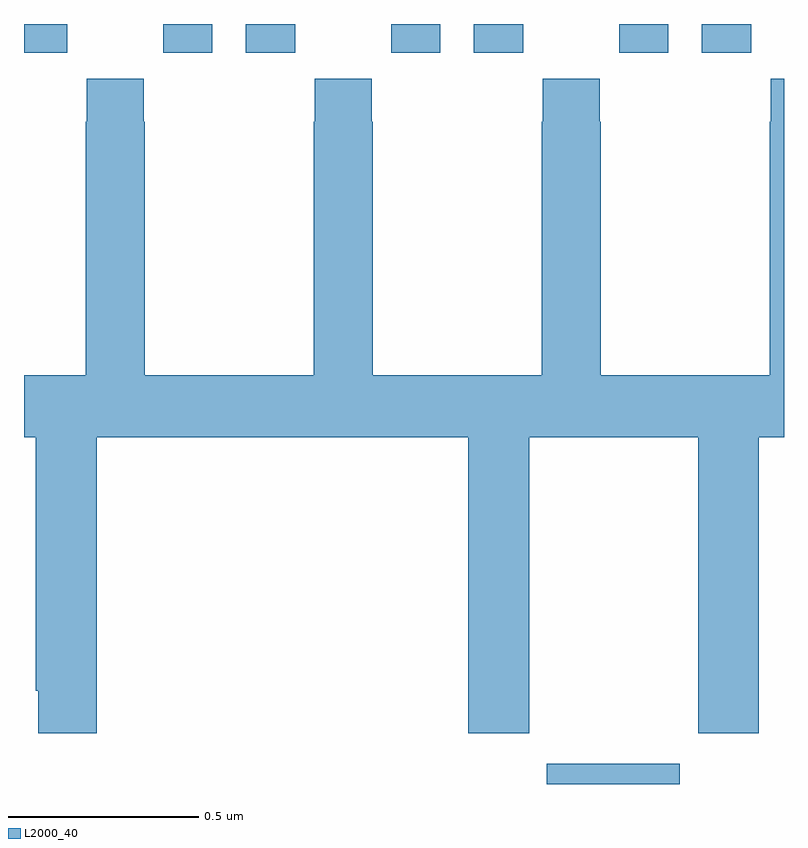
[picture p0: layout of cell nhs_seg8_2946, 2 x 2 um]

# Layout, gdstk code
import gdstk
lib = gdstk.Library(unit=1e-6, precision=1e-09)
def R(c, l, rs):  # rectangles x0, y0, x1, y1
    for r in rs: c.add(gdstk.rectangle(r[:2], r[2:], *l))
def P(c, l, *ps):  # polygons
    for p in ps: c.add(gdstk.Polygon(p, *l))
L2000_40 = (2000, 40)

nhs_seg8_2946 = lib.new_cell('nhs_seg8_2946')
R(nhs_seg8_2946, L2000_40, [(151.376,1136.9,151.726,1136.953), (150,1138.824,150.114,1138.9), (150.366,1138.824,150.496,1138.9), (150.584,1138.824,150.714,1138.9), (150.966,1138.824,151.096,1138.9), (151.184,1138.824,151.314,1138.9), (151.566,1138.824,151.696,1138.9), (151.784,1138.824,151.914,1138.9)])
P(nhs_seg8_2946, L2000_40, [(151.774,1137.033),(151.934,1137.033),(151.934,1137.812),(152,1137.812),(152,1138.756),(151.965,1138.756),(151.965,1138.643),(151.963,1138.643),(151.963,1137.976),(151.518,1137.976),(151.518,1138.643),(151.515,1138.643),(151.515,1138.756),(151.365,1138.756),(151.365,1138.643),(151.363,1138.643),(151.363,1137.976),(150.918,1137.976),(150.918,1138.643),(150.915,1138.643),(150.915,1138.756),(150.765,1138.756),(150.765,1138.643),(150.763,1138.643),(150.763,1137.976),(150.318,1137.976),(150.318,1138.643),(150.315,1138.643),(150.315,1138.756),(150.165,1138.756),(150.165,1138.643),(150.163,1138.643),(150.163,1137.976),(150,1137.976),(150,1137.812),(150.031,1137.812),(150.031,1137.145),(150.037,1137.145),(150.037,1137.033),(150.191,1137.033),(150.191,1137.812),(151.169,1137.812),(151.169,1137.033),(151.329,1137.033),(151.329,1137.812),(151.774,1137.812)])

lib.write_gds('nhs_seg8_2946.gds')
